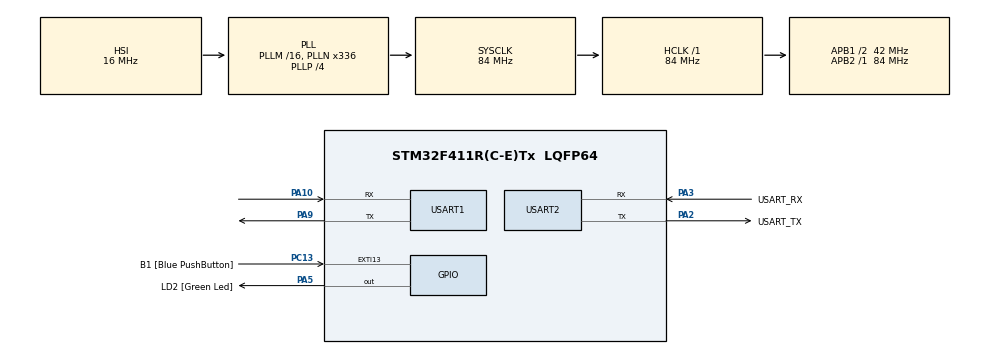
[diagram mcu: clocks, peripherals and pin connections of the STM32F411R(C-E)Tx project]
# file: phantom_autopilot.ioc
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Dma.Request0=USART2_TX
Dma.Request1=USART2_RX
Dma.Request2=USART1_TX
Dma.USART1_TX.2.Direction=DMA_MEMORY_TO_PERIPH
Dma.USART1_TX.2.FIFOMode=DMA_FIFOMODE_DISABLE
Dma.USART1_TX.2.Instance=DMA2_Stream7
Dma.USART1_TX.2.MemDataAlignment=DMA_MDATAALIGN_BYTE
Dma.USART1_TX.2.MemInc=DMA_MINC_ENABLE
Dma.USART1_TX.2.Mode=DMA_NORMAL
Dma.USART1_TX.2.PeriphDataAlignment=DMA_PDATAALIGN_BYTE
Dma.USART1_TX.2.PeriphInc=DMA_PINC_DISABLE
Dma.USART1_TX.2.Priority=DMA_PRIORITY_LOW
Dma.USART2_RX.1.Direction=DMA_PERIPH_TO_MEMORY
Dma.USART2_RX.1.FIFOMode=DMA_FIFOMODE_DISABLE
Dma.USART2_RX.1.Instance=DMA1_Stream5
Dma.USART2_RX.1.MemDataAlignment=DMA_MDATAALIGN_BYTE
Dma.USART2_RX.1.MemInc=DMA_MINC_ENABLE
Dma.USART2_RX.1.Mode=DMA_CIRCULAR
Dma.USART2_RX.1.PeriphDataAlignment=DMA_PDATAALIGN_BYTE
Dma.USART2_RX.1.PeriphInc=DMA_PINC_DISABLE
Dma.USART2_RX.1.Priority=DMA_PRIORITY_LOW
Dma.USART2_TX.0.Direction=DMA_MEMORY_TO_PERIPH
Dma.USART2_TX.0.FIFOMode=DMA_FIFOMODE_DISABLE
Dma.USART2_TX.0.Instance=DMA1_Stream6
Dma.USART2_TX.0.MemDataAlignment=DMA_MDATAALIGN_BYTE
Dma.USART2_TX.0.MemInc=DMA_MINC_ENABLE
Dma.USART2_TX.0.Mode=DMA_NORMAL
Dma.USART2_TX.0.PeriphDataAlignment=DMA_PDATAALIGN_BYTE
Dma.USART2_TX.0.PeriphInc=DMA_PINC_DISABLE
Dma.USART2_TX.0.Priority=DMA_PRIORITY_LOW
Mcu.Family=STM32F4
Mcu.Name=STM32F411R(C-E)Tx
Mcu.Package=LQFP64
NVIC.DMA1_Stream5_IRQn=true\:0\:0\:false\:false\:true\:false\:true\:true
NVIC.DMA1_Stream6_IRQn=true\:0\:0\:false\:false\:true\:false\:true\:true
NVIC.DMA2_Stream7_IRQn=true\:0\:0\:false\:false\:true\:false\:true\:true
NVIC.PriorityGroup=NVIC_PRIORITYGROUP_0
NVIC.USART1_IRQn=true\:0\:0\:false\:false\:true\:true\:true\:true
NVIC.USART2_IRQn=true\:0\:0\:false\:false\:true\:true\:true\:true
PA10.Mode=Asynchronous
PA10.Signal=USART1_RX
PA13.GPIO_Label=TMS
PA13.Mode=Serial_Wire
PA13.Signal=SYS_JTMS-SWDIO
PA14.GPIO_Label=TCK
PA14.Mode=Serial_Wire
PA14.Signal=SYS_JTCK-SWCLK
PA2.GPIO_Label=USART_TX
PA2.Mode=Asynchronous
PA2.Signal=USART2_TX
PA3.GPIO_Label=USART_RX
PA3.Mode=Asynchronous
PA3.Signal=USART2_RX
PA5.GPIO_Label=LD2 [Green Led]
PA5.Signal=GPIO_Output
PA9.Mode=Asynchronous
PA9.Signal=USART1_TX
PB3.GPIO_Label=SWO
PB3.Signal=SYS_JTDO-SWO
PC13-ANTI_TAMP.GPIO_Label=B1 [Blue PushButton]
PC13-ANTI_TAMP.GPIO_ModeDefaultEXTI=GPIO_MODE_IT_FALLING
PC13-ANTI_TAMP.Signal=GPXTI13
PC14-OSC32_IN.Mode=LSE-External-Oscillator
PC14-OSC32_IN.Signal=RCC_OSC32_IN
PC15-OSC32_OUT.Mode=LSE-External-Oscillator
PC15-OSC32_OUT.Signal=RCC_OSC32_OUT
PH0\ -\ OSC_IN.Mode=HSE-External-Clock-Source
PH0\ -\ OSC_IN.Signal=RCC_OSC_IN
PH1\ -\ OSC_OUT.Mode=HSE-External-Clock-Source
PH1\ -\ OSC_OUT.Signal=RCC_OSC_OUT
ProjectManager.HeapSize=0x200
ProjectManager.StackSize=0x400
ProjectManager.TargetToolchain=STM32CubeIDE
RCC.48MHZClocksFreq_Value=84000000
RCC.AHBFreq_Value=84000000
RCC.APB1CLKDivider=RCC_HCLK_DIV2
RCC.APB1Freq_Value=42000000
RCC.APB1TimFreq_Value=84000000
RCC.APB2Freq_Value=84000000
RCC.APB2TimFreq_Value=84000000
RCC.CortexFreq_Value=84000000
RCC.FLatency-AdvancedSettings=FLASH_LATENCY_2
RCC.HCLKFreq_Value=84000000
RCC.HSE_VALUE=8000000
RCC.HSI_VALUE=16000000
RCC.PLLN=336
RCC.PLLP=RCC_PLLP_DIV4
RCC.SYSCLKFreq_VALUE=84000000
RCC.SYSCLKSource=RCC_SYSCLKSOURCE_PLLCLK
RCC.VCOOutputFreq_Value=336000000
USART1.VirtualMode=VM_ASYNC
USART2.VirtualMode=VM_ASYNC
board=NUCLEO-F411RE

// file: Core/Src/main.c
/* USER CODE BEGIN Header */
/**
 ******************************************************************************
 * @file           : main.c
 * @brief          : Main program body
 ******************************************************************************
 * @attention
 *
 * Copyright (c) 2026 STMicroelectronics.
 * All rights reserved.
 *
 * This software is licensed under terms that can be found in the LICENSE file
 * in the root directory of this software component.
 * If no LICENSE file comes with this software, it is provided AS-IS.
 *
 ******************************************************************************
 */
#define MESSAGE_LEN 256
#define RX_DMA_SIZE 256

// covariance define so i don't mess up the index
#define IND_ANGLE_X 0
#define IND_ANGLE_Y 1
#define IND_ANGLE_Z 2
#define IND_BIAS_X 3
#define IND_BIAS_Y 4
#define IND_BIAS_Z 5

// PID define so i don't mess up the index
#define KP_R [0][0]
#define KI_R [0][1]
#define KD_R [0][2]
#define KP_P [1][0]
#define KI_P [1][1]
#define KD_P [1][2]
#define KP_Y [2][0]
#define KI_Y [2][1]
#define KD_Y [2][2]

/* USER CODE END Header */
#include "main.h"

/* USER CODE BEGIN Includes */
#include <math.h>
#include <stdio.h>
#include <stdlib.h>
#include <string.h>
/* USER CODE END Includes */

/* USER CODE BEGIN PTD */
typedef struct {
  float q[4];      // store quaternion
  float bias[3];   // gyro bias (booty cheeks)
  float P[6][6];   // uncertainty 1-3 is rot error
                   // rest is for gyro bias(i,j,k)
  float PID[3][3]; // just for neatness
} EKF_State_t;
/* USER CODE END PTD */

UART_HandleTypeDef huart1;
UART_HandleTypeDef huart2;
DMA_HandleTypeDef hdma_usart1_tx;
DMA_HandleTypeDef hdma_usart2_tx;
DMA_HandleTypeDef hdma_usart2_rx;

/* USER CODE BEGIN PV */
// priv var// RX - Circular DMA
static uint8_t rx_dma_buf[RX_DMA_SIZE];
volatile uint16_t rx_last_pos = 0;
static uint8_t rx_buffer[MESSAGE_LEN]; // parsed packet storage
static volatile uint8_t data_ready = 0;
static char uart2_tx_buffer[MESSAGE_LEN];
static char uart1_tx_buffer[MESSAGE_LEN];
static volatile uint8_t uart2_tx_busy = 0;
static volatile uint8_t uart1_tx_busy = 0;
static EKF_State_t
    ekf; // Global just stores any values that must stay outside main scope
/* USER CODE END PV */

void SystemClock_Config(void);
static void MX_GPIO_Init(void);
static void MX_DMA_Init(void);
static void MX_USART2_UART_Init(void);
static void MX_USART1_UART_Init(void);
/* USER CODE BEGIN PFP */
void SystemClock_Config(void);
static void MX_GPIO_Init(void);
static void MX_USART2_UART_Init(void);
static void MX_USART1_UART_Init(void);
void EKF_Predict(EKF_State_t *state, float gi, float gj, float gk, float dt);
void EKF_Update(EKF_State_t *state, float ai, float aj, float ak);
void EKF_Init(EKF_State_t *state);
float compute_elevator(EKF_State_t *state);
float compute_aileron(EKF_State_t *state);
void quaternion_to_body_x(float q[4], float x_body[3]);
void quaternion_to_body_y(float q[4], float y_body[3]);
void HAL_UART_TxCpltCallback(UART_HandleTypeDef *huart);
void uart_output(uint8_t port, char *msg);
void process_rx_data(uint16_t old_pos, uint16_t new_pos);
/* USER CODE END PFP */

int main(void) {

  /* MCU Configuration--------------------------------------------------------*/

  /* Reset of all peripherals, Initializes the Flash interface and the Systick.
   */
  HAL_Init();

  /* Configure the system clock */
  SystemClock_Config();

  /* Initialize all configured peripherals */
  MX_GPIO_Init();
  MX_DMA_Init();
  MX_USART2_UART_Init();
  MX_USART1_UART_Init();
  /* USER CODE BEGIN 2 */
  // listen for 1 byte, save to rx_byte, and interrupt when done
  HAL_UART_Receive_DMA(&huart2, rx_dma_buf, RX_DMA_SIZE);
  __HAL_UART_ENABLE_IT(&huart2, UART_IT_IDLE);

  EKF_Init(&ekf);
  float sim_time, ax, ay, az, gx, gy, gz;
  float last_time = 0;

  /* USER CODE END 2 */

  /* Infinite loop */
  /* USER CODE BEGIN WHILE */
  while (1) {
    if (data_ready) {
      data_ready = 0;

      char *ptr = (char *)rx_buffer;
      char *end;

      // Parse all 7 fields
      sim_time = strtof(ptr, &end);
      if (*end != ',' ||
          end == ptr) { // Add check: end == ptr means no conversion
        EKF_Init(&ekf); // Reset on bad packet
        continue;
      }
      ptr = end + 1;

      ax = strtof(ptr, &end);
      if (*end != ',' || end == ptr) {
        EKF_Init(&ekf);
        continue;
      }
      ptr = end + 1;

      ay = strtof(ptr, &end);
      if (*end != ',' || end == ptr) {
        EKF_Init(&ekf);
        continue;
      }
      ptr = end + 1;

      az = strtof(ptr, &end);
      if (*end != ',' || end == ptr) {
        EKF_Init(&ekf);
        continue;
      }
      ptr = end + 1;

      gx = strtof(ptr, &end);
      if (*end != ',' || end == ptr) {
        EKF_Init(&ekf);
        continue;
      }
      ptr = end + 1;

      gy = strtof(ptr, &end);
      if (*end != ',' || end == ptr) {
        EKF_Init(&ekf);
        continue;
      }
      ptr = end + 1;

      gz = strtof(ptr, &end);
      if (end == ptr) { // Last field - no comma check needed
        EKF_Init(&ekf);
        continue;
      }

      // blink to show valid packet
      HAL_GPIO_TogglePin(GPIOA, GPIO_PIN_5);

      // compute time difference
      float dt = sim_time - last_time;
      if (dt <= 0.0f || dt > 0.05f)
        dt = 0.025f;
      last_time = sim_time;

      // EKF
      EKF_Predict(&ekf, gx, gy, gz, dt);
      EKF_Update(&ekf, ax, ay, az);

      if (isnan(ekf.q[0])) {
        EKF_Init(&ekf);
        continue;
      }

      float aileron_cmd = compute_aileron(&ekf);
      float elevator_cmd = compute_elevator(&ekf);

      char cmd_msg[MESSAGE_LEN];
      snprintf(cmd_msg, sizeof(cmd_msg), "%.4f,%.4f\n", aileron_cmd,
               elevator_cmd);
      uart_output(2, cmd_msg);

      char debug_msg[MESSAGE_LEN];
      snprintf(debug_msg, sizeof(debug_msg),
               "%.4f,%.4f,%.4f,%.4f,%.4f,%.4f,%.4f,%.4f,%.4f,%.4f,%.4f,%.4f",
               ekf.q[0], ekf.q[1], ekf.q[2], ekf.q[3], ax, ay, az, gx, gy, gz,
               sim_time, dt);
      uart_output(1, debug_msg);
    }
  }

  /* USER CODE END WHILE */

}

void SystemClock_Config(void) {
  RCC_OscInitTypeDef RCC_OscInitStruct = {0};
  RCC_ClkInitTypeDef RCC_ClkInitStruct = {0};

  /** Configure the main internal regulator output voltage
   */
  __HAL_RCC_PWR_CLK_ENABLE();
  __HAL_PWR_VOLTAGESCALING_CONFIG(PWR_REGULATOR_VOLTAGE_SCALE1);

  /** Initializes the RCC Oscillators according to the specified parameters
   * in the RCC_OscInitTypeDef structure.
   */
  RCC_OscInitStruct.OscillatorType = RCC_OSCILLATORTYPE_HSI;
  RCC_OscInitStruct.HSIState = RCC_HSI_ON;
  RCC_OscInitStruct.HSICalibrationValue = RCC_HSICALIBRATION_DEFAULT;
  RCC_OscInitStruct.PLL.PLLState = RCC_PLL_ON;
  RCC_OscInitStruct.PLL.PLLSource = RCC_PLLSOURCE_HSI;
  RCC_OscInitStruct.PLL.PLLM = 16;
  RCC_OscInitStruct.PLL.PLLN = 336;
  RCC_OscInitStruct.PLL.PLLP = RCC_PLLP_DIV4;
  RCC_OscInitStruct.PLL.PLLQ = 4;
  if (HAL_RCC_OscConfig(&RCC_OscInitStruct) != HAL_OK) {
    Error_Handler();
  }

  /** Initializes the CPU, AHB and APB buses clocks
   */
  RCC_ClkInitStruct.ClockType = RCC_CLOCKTYPE_HCLK | RCC_CLOCKTYPE_SYSCLK |
                                RCC_CLOCKTYPE_PCLK1 | RCC_CLOCKTYPE_PCLK2;
  RCC_ClkInitStruct.SYSCLKSource = RCC_SYSCLKSOURCE_PLLCLK;
  RCC_ClkInitStruct.AHBCLKDivider = RCC_SYSCLK_DIV1;
  RCC_ClkInitStruct.APB1CLKDivider = RCC_HCLK_DIV2;
  RCC_ClkInitStruct.APB2CLKDivider = RCC_HCLK_DIV1;

  if (HAL_RCC_ClockConfig(&RCC_ClkInitStruct, FLASH_LATENCY_2) != HAL_OK) {
    Error_Handler();
  }
}

static void MX_USART1_UART_Init(void) {

  huart1.Instance = USART1;
  huart1.Init.BaudRate = 115200;
  huart1.Init.WordLength = UART_WORDLENGTH_8B;
  huart1.Init.StopBits = UART_STOPBITS_1;
  huart1.Init.Parity = UART_PARITY_NONE;
  huart1.Init.Mode = UART_MODE_TX_RX;
  huart1.Init.HwFlowCtl = UART_HWCONTROL_NONE;
  huart1.Init.OverSampling = UART_OVERSAMPLING_16;
  if (HAL_UART_Init(&huart1) != HAL_OK) {
    Error_Handler();
  }
}

static void MX_USART2_UART_Init(void) {

  huart2.Instance = USART2;
  huart2.Init.BaudRate = 115200;
  huart2.Init.WordLength = UART_WORDLENGTH_8B;
  huart2.Init.StopBits = UART_STOPBITS_1;
  huart2.Init.Parity = UART_PARITY_NONE;
  huart2.Init.Mode = UART_MODE_TX_RX;
  huart2.Init.HwFlowCtl = UART_HWCONTROL_NONE;
  huart2.Init.OverSampling = UART_OVERSAMPLING_16;
  if (HAL_UART_Init(&huart2) != HAL_OK) {
    Error_Handler();
  }
}

static void MX_DMA_Init(void) {

  /* DMA controller clock enable */
  __HAL_RCC_DMA1_CLK_ENABLE();
  __HAL_RCC_DMA2_CLK_ENABLE();

  /* DMA interrupt init */
  /* DMA1_Stream5_IRQn interrupt configuration */
  HAL_NVIC_SetPriority(DMA1_Stream5_IRQn, 0, 0);
  HAL_NVIC_EnableIRQ(DMA1_Stream5_IRQn);
  /* DMA1_Stream6_IRQn interrupt configuration */
  HAL_NVIC_SetPriority(DMA1_Stream6_IRQn, 0, 0);
  HAL_NVIC_EnableIRQ(DMA1_Stream6_IRQn);
  /* DMA2_Stream7_IRQn interrupt configuration */
  HAL_NVIC_SetPriority(DMA2_Stream7_IRQn, 0, 0);
  HAL_NVIC_EnableIRQ(DMA2_Stream7_IRQn);
}

static void MX_GPIO_Init(void) {
  GPIO_InitTypeDef GPIO_InitStruct = {0};

  /* GPIO Ports Clock Enable */
  __HAL_RCC_GPIOC_CLK_ENABLE();
  __HAL_RCC_GPIOH_CLK_ENABLE();
  __HAL_RCC_GPIOA_CLK_ENABLE();
  __HAL_RCC_GPIOB_CLK_ENABLE();

  /*Configure GPIO pin Output Level */
  HAL_GPIO_WritePin(LD2_GPIO_Port, LD2_Pin, GPIO_PIN_RESET);

  /*Configure GPIO pin : B1_Pin */
  GPIO_InitStruct.Pin = B1_Pin;
  GPIO_InitStruct.Mode = GPIO_MODE_IT_FALLING;
  GPIO_InitStruct.Pull = GPIO_NOPULL;
  HAL_GPIO_Init(B1_GPIO_Port, &GPIO_InitStruct);

  /*Configure GPIO pin : LD2_Pin */
  GPIO_InitStruct.Pin = LD2_Pin;
  GPIO_InitStruct.Mode = GPIO_MODE_OUTPUT_PP;
  GPIO_InitStruct.Pull = GPIO_NOPULL;
  GPIO_InitStruct.Speed = GPIO_SPEED_FREQ_LOW;
  HAL_GPIO_Init(LD2_GPIO_Port, &GPIO_InitStruct);

}

/* USER CODE BEGIN 4 */
// okay to see if we can trust gyro gng i need to predict where im gonna be
// first
void EKF_Predict(EKF_State_t *state, float gi, float gj, float gk, float dt) {
  // diangonal filter for now
  state->P[0][0] += 0.01f * dt;
  state->P[1][1] += 0.01f * dt;
  state->P[2][2] += 0.01f * dt;
  state->P[3][3] += 1e-6f * dt;
  state->P[4][4] += 1e-6f * dt;
  state->P[5][5] += 1e-6f * dt;

  // subtract bias :)
  float ui = gi - state->bias[0];
  float uj = gj - state->bias[1];
  float uk = gk - state->bias[2];

  // copy quaternion values into a variable so its easy to use
  float qw = state->q[0];
  float qi = state->q[1];
  float qj = state->q[2];
  float qk = state->q[3];
  // kinematic equation
  //  q(dot) = 1/2*q cross-mult w
  state->q[0] += 0.5f * dt * (-qi * ui - qj * uj - qk * uk);
  state->q[1] += 0.5f * dt * (qw * ui + qj * uk - qk * uj);
  state->q[2] += 0.5f * dt * (qw * uj - qi * uk + qk * ui);
  state->q[3] += 0.5f * dt * (qw * uk + qi * uj - qj * ui);
  // normalize, need it so the quaternion coordinate doesn't shrink to zero
  // bum ass rounding error why is 0.1+0.2 = 0.3000001 this is :/
  float q_mag = sqrtf(state->q[0] * state->q[0] + state->q[1] * state->q[1] +
                      state->q[2] * state->q[2] + state->q[3] * state->q[3]);
  state->q[0] /= q_mag;
  state->q[1] /= q_mag;
  state->q[2] /= q_mag;
  state->q[3] /= q_mag;
}
void EKF_Update(EKF_State_t *state, float ai, float aj, float ak) {
  // normalize data - convert from m/s² to g-units
  float a_mag = sqrtf(ai * ai + aj * aj + ak * ak);
  if (a_mag < 0.01f)
    return; // avoid divide by zero.

  // Convert to g-units (divide by 9.8) before checking magnitude
  float a_mag_g = a_mag / 9.8f;
  if (fabsf(a_mag_g - 1.0f) > 0.15f) {
    return; // ignore accel update during maneuver (>0.15g deviation)
  }

  // Normalize to unit vector
  ai /= a_mag;
  aj /= a_mag;
  ak /= a_mag;
  // get quaternion
  float qw = state->q[0];
  float qi = state->q[1];
  float qj = state->q[2];
  float qk = state->q[3];
  // predict gravity direction in body frame
  // FlightGear: Z-up, so gravity is in -Z direction
  float gx = 2.0f * (qw * qk - qi * qj);
  float gy = 2.0f * (qi * qw + qk * qj);
  float gz = (qw * qw - qi * qi - qj * qj + qk * qk);
  // error vector predicted x accelerator values
  float e[3];
  e[0] = (gy * ak - gz * aj);
  e[1] = (gz * ai - gx * ak);
  e[2] = (gx * aj - gy * ai);

  float P_angle[3] = {state->P[IND_ANGLE_X][IND_ANGLE_X],
                      state->P[IND_ANGLE_Y][IND_ANGLE_Y],
                      state->P[IND_ANGLE_Z][IND_ANGLE_Z]};

  float P_bias[3] = {state->P[IND_BIAS_X][IND_BIAS_X],
                     state->P[IND_BIAS_Y][IND_BIAS_Y],
                     state->P[IND_BIAS_Z][IND_BIAS_Z]};
  // measurement noise
  float R_accel = 0.05f;

  float K_angle[3];
  float K_bias[3];
  for (int i = 0; i < 3; ++i) {
    K_angle[i] = P_angle[i] / (P_angle[i] + R_accel);
    K_bias[i] = P_bias[i] / (P_bias[i] + R_accel);
  }

  // half of error with K values multiplied
  float half_e[3];
  for (int i = 0; i < 3; ++i) {
    half_e[i] = 0.5f * e[i] * K_angle[i];
  }
  // update quaternion orientation with error
  state->q[0] += (-qi * half_e[0] - qj * half_e[1] - qk * half_e[2]);
  state->q[1] += (qw * half_e[0] + qj * half_e[2] - qk * half_e[1]);
  state->q[2] += (qw * half_e[1] - qi * half_e[2] + qk * half_e[0]);
  state->q[3] += (qw * half_e[2] + qi * half_e[1] - qj * half_e[0]);
  // gyro bias correction (drifting)
  for (int i = 0; i < 3; ++i) {
    state->bias[i] += e[i] * K_bias[i] * 0.01f; // small learning curve
  }
  // reduce uncertainty
  for (int i = 0; i < 3; ++i) {
    state->P[i][i] *= (1.0f - K_angle[i]);
    state->P[i + 3][i + 3] *= (1.0f - K_bias[i]);
  }
  // normalize for fp calculation
  float mag = sqrtf(state->q[0] * state->q[0] + state->q[1] * state->q[1] +
                    state->q[2] * state->q[2] + state->q[3] * state->q[3]);
  state->q[0] /= mag;
  state->q[1] /= mag;
  state->q[2] /= mag;
  state->q[3] /= mag; // normalization
}
// initalize EKF
void EKF_Init(EKF_State_t *state) {
  // intialize quaternion coord with (1,0,0,0)
  state->q[0] = 1.0f;
  state->q[1] = 0.0f;
  state->q[2] = 0.0f;
  state->q[3] = 0.0f;
  // reset bias to zero
  state->bias[0] = 0.0f;
  state->bias[1] = 0.0f;
  state->bias[2] = 0.0f;
  // intialize covariance (diagonal ekf)
  state->P[0][0] = 0.1f;
  state->P[1][1] = 0.1f;
  state->P[2][2] = 0.1f;

  // gyro bias uncertainty
  state->P[3][3] = 1e-4f;
  state->P[4][4] = 1e-4f;
  state->P[5][5] = 1e-4f;
  state->PID KP_R = 1.0f; // Roll proportional gain
  state->PID KI_R = 0.0f; // Unused
  state->PID KD_R = 0.0f; // Unused

  state->PID KP_P = 1.0f; // Pitch proportional gain
  state->PID KI_P = 0.0f; // Unused
  state->PID KD_P = 0.0f; // Unused

  state->PID KP_Y = 0.0f; // No yaw control yet
  state->PID KI_Y = 0.0f;
  state->PID KD_Y = 0.0f;
}

void quaternion_to_body_x(float q[4], float x_body[3]) {
  float qw = q[0], qi = q[1], qj = q[2], qk = q[3];
  x_body[0] = 1.0f - 2.0f * (qj * qj + qk * qk);
  x_body[1] = 2.0f * (qi * qj + qw * qk);
  x_body[2] = 2.0f * (qi * qk - qw * qj);
}

void quaternion_to_body_y(float q[4], float y_body[3]) {
  float qw = q[0], qi = q[1], qj = q[2], qk = q[3];
  y_body[0] = 2.0f * (qi * qj - qw * qk);
  y_body[1] = 1.0f - 2.0f * (qi * qi + qk * qk);
  y_body[2] = 2.0f * (qj * qk + qw * qi);
}

float compute_aileron(EKF_State_t *state) {
  float y_body[3];
  quaternion_to_body_y(state->q, y_body);

  // Roll error: y_body[2] tells how much right wing is up/down
  // Positive = right wing down, negative = right wing up
  float roll_error = -y_body[2];

  // Proportional gain
  float Kp = state->PID KP_R;

  // Aileron command
  float aileron = Kp * roll_error;

  // Clamp to ±1.0
  if (aileron > 1.0f)
    aileron = 1.0f;
  if (aileron < -1.0f)
    aileron = -1.0f;

  return aileron;
}

float compute_elevator(EKF_State_t *state) {
  float x_body[3];
  quaternion_to_body_x(state->q, x_body);

  // Pitch error: x_body[2] tells how much nose is up/down
  // Positive = nose up, negative = nose down
  float pitch_error = x_body[2];

  // Proportional gain
  float Kp = state->PID KP_P;

  // Elevator command
  float elevator = Kp * pitch_error;

  // Clamp to ±1.0
  if (elevator > 1.0f)
    elevator = 1.0f;
  if (elevator < -1.0f)
    elevator = -1.0f;

  return elevator;
}

// function that runs when rx_byte arrives
void process_rx_data(uint16_t old_pos, uint16_t new_pos) {
  static char line[MESSAGE_LEN];
  static uint16_t idx = 0;

  while (old_pos != new_pos) {
    char c = rx_dma_buf[old_pos++];
    if (old_pos >= RX_DMA_SIZE) {
      old_pos = 0; // Wrap around
    }

    if (c == '\n') {
      line[idx] = '\0';
      memcpy((void *)rx_buffer, line, idx + 1);
      data_ready = 1; // Overwrite old packet - newest wins!
      idx = 0;
    } else if (idx < MESSAGE_LEN - 1) {
      line[idx++] = c;
    }
  }
}

void HAL_UART_TxCpltCallback(UART_HandleTypeDef *huart) {
  if (huart->Instance == USART2) {
    uart2_tx_busy = 0;
  } else if (huart->Instance == USART1) {
    uart1_tx_busy = 0;
  }
}

void uart_output(uint8_t port, char *msg) {
  if (port == 1) {
    if (uart1_tx_busy)
      return;
    uart1_tx_busy = 1;
    int len = snprintf(uart1_tx_buffer, sizeof(uart1_tx_buffer), "%s\n", msg);
    HAL_UART_Transmit_DMA(&huart1, (uint8_t *)uart1_tx_buffer, len);
  } else if (port == 2) {
    if (uart2_tx_busy)
      return;
    uart2_tx_busy = 1;
    int len = snprintf(uart2_tx_buffer, sizeof(uart2_tx_buffer), "%s", msg);
    HAL_UART_Transmit_DMA(&huart2, (uint8_t *)uart2_tx_buffer, len);
  }
}
/* USER CODE END 4 */

void Error_Handler(void) {
  /* USER CODE BEGIN Error_Handler_Debug */
  /* User can add his own implementation to report the HAL error return state
   */
  __disable_irq();
  while (1) {
  }
  /* USER CODE END Error_Handler_Debug */
}
#ifdef USE_FULL_ASSERT
/**
 * @brief  Reports the name of the source file and the source line number
 *         where the assert_param error has occurred.
 * @param  file: pointer to the source file name
 * @param  line: assert_param error line source number
 * @retval None
 */
void assert_failed(uint8_t *file, uint32_t line) {
  /* USER CODE BEGIN 6 */
  /* User can add his own implementation to report the file name and line
     number, ex: printf("Wrong parameters value: file %s on line %d\r\n",
     file, line) */
  /* USER CODE END 6 */
}
#endif /* USE_FULL_ASSERT */
